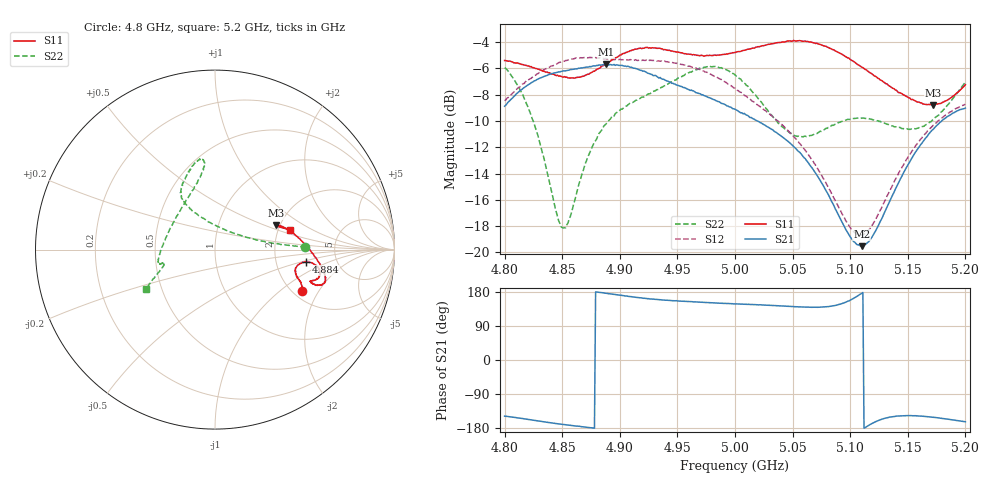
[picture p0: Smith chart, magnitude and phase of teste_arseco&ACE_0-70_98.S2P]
! Network Analyzer HP8722D
! Hewlett-Packard
! Data name: Linha & Wilkinson
! Saver's name: Rodrigo Anjos
! Comments: Teste da utilização de aquisição
! continua pelo VNA HP8722D
! Time and date: 8/5/2025 13:34
!  Frequency  S11  S21  S12  S22
# HZ  S  MA R 50
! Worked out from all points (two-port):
!   401 points, 4.8 GHz to 5.2 GHz, reference 50 ohm
!   highest |S21| = -5.70 dB at 4.888 GHz (marker M1); lowest = -19.5 dB at 5.11 GHz (marker M2)
!   |S21| within 3 dB of the highest: 4.802 GHz to 4.99 GHz (188 MHz wide, 3.84 % of centre)
!   lowest |S11| = -8.8 dB at 5.172 GHz (marker M3), VSWR 2.15, Z = 95.1 + j29.6 ohm
!   |S11| at or under -10 dB: nowhere
!   |S22| runs from -18.1 to -5.8 dB; largest |S21 - S12| = 1.1
!   S11 on the Smith chart (normalised r, x): 4.8 GHz: 2.23, -1.45; 4.884 GHz: 2.98, -0.55; 5.2 GHz: 2.33, +0.63
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4.8e9  0.5373 -25.6  0.36 -148.3  0.3779 11.3  0.5043 1.5
4.812e9  0.524 -22.5  0.4069 -153.0  0.4241 9.6  0.4273 2.8
4.824e9  0.5051 -20.3  0.4441 -158.5  0.4639 7.8  0.3223 6.3
4.849e9  0.4674 -16.2  0.4881 -169.4  0.5301 3.8  0.1252 56.1
4.855e9  0.4612 -14.7  0.4932 -171.8  0.5395 2.9  0.1293 83.8
4.867e9  0.467 -11.2  0.5036 -176.0  0.5499 1.3  0.1976 113.2
4.884e9  0.5107 -7.6  0.5165 177.8  0.5463 -0.1  0.2908 122.6
4.888e9  0.5215 -7.8  0.519 176.2  0.5473 -0.2  0.3079 122.8
4.911e9  0.5896 -10.4  0.5043 166.8  0.5378 0.2  0.3717 121.0
4.934e9  0.5987 -15.4  0.4605 159.1  0.5355 -0.8  0.4211 114.1
4.976e9  0.5622 -18.3  0.3907 151.8  0.4837 -4.6  0.5089 99.9
5e9  0.5766 -19.1  0.3508 148.1  0.4216 -4.8  0.4738 97.5
5.018e9  0.6037 -19.2  0.3182 146.1  0.3685 -2.0  0.3962 103.9
5.046e9  0.6372 -17.0  0.2649 141.8  0.2912 3.9  0.289 134.2
5.067e9  0.6295 -13.3  0.2095 139.2  0.2249 9.7  0.2793 164.4
5.098e9  0.5495 -2.9  0.1187 155.2  0.1285 36.1  0.321 -170.0
5.11e9  0.5067 2.6  0.1056 176.0  0.1167 59.6  0.3245 -166.9
5.119e9  0.4773 7.1  0.1146 -167.4  0.1267 77.1  0.3203 -166.0
5.134e9  0.4294 13.9  0.1558 -150.9  0.1706 94.7  0.3058 -165.5
5.156e9  0.3781 20.9  0.2384 -147.2  0.2519 102.4  0.2958 -163.7
5.172e9  0.3643 21.7  0.2938 -151.1  0.3044 103.3  0.3206 -159.9
5.2e9  0.4348 14.7  0.354 -163.0  0.3661 103.6  0.4447 -150.2
